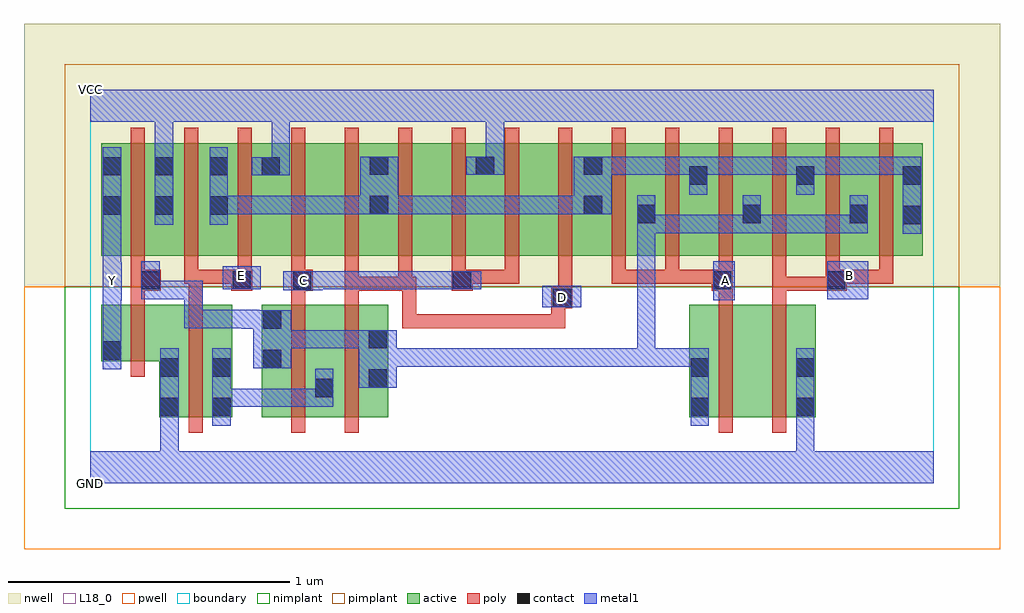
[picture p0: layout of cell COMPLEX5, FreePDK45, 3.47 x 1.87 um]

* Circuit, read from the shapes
.subckt COMPLEX5 A B C D E GND VCC Y
M1 GND n1 Y VSUBS nfet w=0.2u l=0.05u
M2 n2 E GND VSUBS nfet w=0.4u l=0.05u
M3 n2 C n1 VSUBS nfet w=0.4u l=0.05u
M4 n1 D n2 VSUBS nfet w=0.4u l=0.05u
M5 n3 A n1 VSUBS nfet w=0.4u l=0.05u
M6 GND B n3 VSUBS nfet w=0.4u l=0.05u
M7 VCC n1 Y n4 pfet w=0.4u l=0.05u
M8 n5 E VCC n4 pfet w=0.4u l=0.05u m=2
M9 n6 C VCC n4 pfet w=0.4u l=0.05u
M10 n5 D n6 n4 pfet w=0.4u l=0.05u
M11 n7 D n5 n4 pfet w=0.4u l=0.05u
M12 VCC C n7 n4 pfet w=0.4u l=0.05u
M13 n8 C VCC n4 pfet w=0.4u l=0.05u
M14 n5 D n8 n4 pfet w=0.4u l=0.05u
M15 n1 A n5 n4 pfet w=0.4u l=0.05u m=3
M16 n5 B n1 n4 pfet w=0.4u l=0.05u m=3
.ends

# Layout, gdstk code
import gdstk
lib = gdstk.Library(unit=1e-6, precision=1e-09)
def R(c, l, rs):  # rectangles x0, y0, x1, y1
    for r in rs: c.add(gdstk.rectangle(r[:2], r[2:], *l))
def A(c, l, x, y, w, h, nx, ny, dx, dy):  # array of equal rectangles
    R(c, l, [(x+i*dx, y+j*dy, x+i*dx+w, y+j*dy+h) for i in range(nx) for j in range(ny)])
active = (1, 0)
pwell = (2, 0)
nwell = (3, 0)
nimplant = (4, 0)
pimplant = (5, 0)
poly = (9, 0)
contact = (10, 0)
metal1 = (11, 0)
L18_0 = (18, 0)
boundary = (235, 0)

complex5 = lib.new_cell('COMPLEX5')
A(complex5, active, 2.125, 0.81, 0.265, 0.4, 4, 1, 0.19, 0)
R(complex5, active, [(0.245,0.235,0.505,0.635), (0.245,0.235,0.32,0.45), (0.43,0.235,0.505,0.635), (0.61,0.235,0.87,0.635), (0.795,0.235,1.06,0.635), (2.13,0.235,2.205,0.635), (2.13,0.235,2.355,0.635), (2.355,0.235,2.58,0.635), (2.505,0.235,2.58,0.635), (0.61,0.245,0.685,0.635), (0.795,0.245,0.87,0.492), (0.985,0.245,1.06,0.635), (0.04,0.435,0.32,0.635), (0.04,0.435,0.115,0.635), (0.04,0.81,0.3,1.21), (0.04,0.81,0.115,1.165), (0.225,0.81,0.3,1.21), (0.225,0.81,0.495,1.21), (0.42,0.81,0.68,1.21), (0.42,0.81,0.495,1.165), (0.605,0.81,0.835,1.21), (0.835,0.81,1.065,1.21), (0.99,0.81,1.215,1.21), (0.99,0.81,1.065,1.2), (1.215,0.81,1.442,1.21), (1.367,0.81,1.442,1.21), (1.367,0.81,1.595,1.21), (1.595,0.81,1.825,1.21), (1.75,0.81,1.825,1.2), (1.75,0.81,2.015,1.21), (1.94,0.81,2.2,1.21), (1.94,0.81,2.015,1.07), (2.315,0.81,2.39,1.07), (2.505,0.81,2.58,1.2), (2.695,0.81,2.77,1.07), (2.885,0.81,2.96,1.155), (0.605,0.907,0.68,1.21), (2.125,0.907,2.2,1.2)])
R(complex5, pwell, [(-0.235,-0.235,3.235,0.7)])
R(complex5, nwell, [(-0.235,0.7,3.235,1.635)])
R(complex5, nimplant, [(-0.09,-0.09,3.09,0.7)])
R(complex5, pimplant, [(-0.09,0.7,3.09,1.49)])
A(complex5, poly, 0.145, 0.71, 0.05, 0.095, 4, 1, 0.19, 0)
A(complex5, poly, 1.855, 0.71, 0.05, 0.095, 3, 1, 0.19, 0)
A(complex5, poly, 0.145, 0.755, 0.05, 0.51, 15, 1, 0.19, 0)
R(complex5, poly, [(0.35,0.18,0.4,0.69), (0.715,0.18,0.765,0.69), (0.905,0.18,0.955,0.69), (2.235,0.18,2.285,0.69), (2.425,0.18,2.475,0.69), (0.145,0.38,0.195,0.69), (1.11,0.552,1.16,0.602), (1.11,0.552,1.16,0.602), (1.11,0.552,1.16,0.602), (1.11,0.552,1.292,0.602), (1.11,0.552,1.16,0.735), (1.242,0.552,1.292,0.602), (1.242,0.552,1.292,0.602), (1.242,0.552,1.292,0.602), (1.242,0.552,1.492,0.602), (1.442,0.552,1.492,0.602), (1.442,0.552,1.69,0.602), (1.64,0.552,1.69,0.602), (1.64,0.552,1.69,0.602), (1.64,0.552,1.69,0.602), (1.64,0.552,1.69,0.602), (1.64,0.552,1.69,0.602), (1.64,0.552,1.69,0.672), (1.64,0.622,1.715,0.697), (0.145,0.64,0.195,0.735), (0.35,0.64,0.4,0.76), (0.715,0.64,0.765,0.735), (0.905,0.64,0.955,0.735), (2.235,0.64,2.285,0.735), (2.425,0.64,2.475,0.735), (1.665,0.647,1.715,0.805), (0.145,0.685,0.252,0.76), (0.502,0.685,0.577,0.76), (0.715,0.685,0.792,0.76), (0.905,0.685,0.955,0.735), (0.905,0.685,0.955,0.735), (0.905,0.685,0.955,0.735), (0.905,0.685,1.145,0.735), (0.905,0.685,0.955,0.805), (1.095,0.685,1.145,0.735), (1.095,0.685,1.145,0.735), (1.095,0.685,1.145,0.805), (1.095,0.685,1.16,0.735), (1.285,0.685,1.36,0.76), (2.21,0.685,2.285,0.76), (2.425,0.685,2.475,0.735), (2.425,0.685,2.665,0.735), (2.425,0.685,2.475,0.805), (2.615,0.685,2.665,0.735), (2.615,0.685,2.665,0.735), (2.615,0.685,2.69,0.76), (0.335,0.71,0.4,0.76), (0.35,0.71,0.552,0.76), (0.502,0.71,0.552,0.76), (0.502,0.71,0.552,0.76), (1.285,0.71,1.335,0.805), (1.31,0.71,1.36,0.76), (1.31,0.71,1.36,0.76), (1.31,0.71,1.525,0.76), (1.475,0.71,1.525,0.805), (1.475,0.71,1.525,0.76), (1.855,0.71,1.905,0.76), (1.855,0.71,1.905,0.76), (1.855,0.71,1.905,0.76), (1.855,0.71,2.095,0.76), (2.045,0.71,2.095,0.76), (2.045,0.71,2.095,0.76), (2.045,0.71,2.095,0.76), (2.045,0.71,2.26,0.76), (2.615,0.71,2.665,0.805), (2.64,0.71,2.855,0.76), (2.805,0.71,2.855,0.805), (2.805,0.71,2.855,0.76), (2.805,0.71,2.855,0.76), (2.805,0.71,2.855,0.76)])
A(complex5, contact, 2.13, 1.062, 0.065, 0.065, 3, 1, 0.38, 0)
R(complex5, contact, [(0.25,0.24,0.315,0.305), (0.435,0.24,0.5,0.305), (2.135,0.24,2.2,0.305), (2.51,0.24,2.575,0.305), (0.8,0.307,0.865,0.372), (0.99,0.34,1.055,0.405), (0.25,0.38,0.315,0.445), (0.435,0.38,0.5,0.445), (2.135,0.38,2.2,0.445), (2.51,0.38,2.575,0.445), (0.615,0.41,0.68,0.475), (0.045,0.44,0.11,0.505), (0.99,0.48,1.055,0.545), (0.615,0.55,0.68,0.615), (1.645,0.627,1.71,0.692), (0.182,0.69,0.247,0.755), (0.507,0.69,0.572,0.755), (0.722,0.69,0.787,0.755), (1.29,0.69,1.355,0.755), (2.215,0.69,2.28,0.755), (2.62,0.69,2.685,0.755), (2.89,0.922,2.955,0.987), (1.945,0.925,2.01,0.99), (2.32,0.925,2.385,0.99), (2.7,0.925,2.765,0.99), (0.045,0.955,0.11,1.02), (0.23,0.955,0.295,1.02), (0.425,0.955,0.49,1.02), (0.995,0.957,1.06,1.022), (1.755,0.957,1.82,1.022), (0.045,1.095,0.11,1.16), (0.23,1.095,0.295,1.16), (0.425,1.095,0.49,1.16), (0.61,1.095,0.675,1.16), (0.995,1.097,1.06,1.162), (1.372,1.097,1.437,1.162), (1.755,1.097,1.82,1.162)])
A(complex5, metal1, 2.267, 1.097, 0.065, 0.065, 3, 1, 0.19, 0)
R(complex5, metal1, [(0,0,3,0.115), (0.25,0.05,0.315,0.27), (2.51,0.05,2.575,0.115), (2.51,0.05,2.575,0.115), (2.51,0.05,2.575,0.27), (0.25,0.205,0.315,0.27), (0.25,0.205,0.315,0.27), (0.25,0.205,0.315,0.48), (0.435,0.205,0.5,0.48), (2.135,0.205,2.2,0.48), (2.51,0.205,2.575,0.48), (0.435,0.272,0.607,0.337), (0.542,0.272,0.607,0.337), (0.542,0.272,0.637,0.337), (0.572,0.272,0.637,0.337), (0.572,0.272,0.745,0.337), (0.68,0.272,0.745,0.337), (0.68,0.272,0.865,0.337), (0.8,0.272,0.865,0.407), (0.955,0.34,1.09,0.545), (0.045,0.405,0.11,0.54), (0.58,0.41,0.715,0.615), (1.025,0.415,1.127,0.48), (1.062,0.415,1.127,0.48), (1.062,0.415,1.265,0.48), (1.2,0.415,1.265,0.48), (1.2,0.415,1.265,0.48), (1.2,0.415,1.265,0.48), (1.2,0.415,1.402,0.48), (1.337,0.415,1.402,0.48), (1.337,0.415,1.402,0.48), (1.337,0.415,1.402,0.48), (1.337,0.415,1.54,0.48), (1.475,0.415,1.54,0.48), (1.475,0.415,1.54,0.48), (1.475,0.415,1.54,0.48), (1.475,0.415,1.785,0.48), (1.72,0.415,1.785,0.48), (1.72,0.415,1.785,0.48), (1.72,0.415,1.785,0.48), (1.72,0.415,2.01,0.48), (1.945,0.415,2.01,0.48), (1.945,0.415,2.01,0.48), (1.945,0.415,2.01,0.48), (1.945,0.415,2.01,0.48), (1.945,0.415,2.01,0.48), (1.945,0.415,2.2,0.48), (1.945,0.415,2.01,0.955), (0.045,0.475,0.11,0.717), (0.65,0.48,0.852,0.545), (0.787,0.48,0.852,0.545), (0.787,0.48,0.852,0.545), (0.787,0.48,0.852,0.545), (0.787,0.48,0.99,0.545), (0.925,0.48,0.99,0.545), (0.925,0.48,1.02,0.545), (0.537,0.55,0.645,0.615), (0.537,0.55,0.602,0.617), (0.335,0.552,0.4,0.617), (0.335,0.552,0.602,0.617), (0.335,0.552,0.4,0.72), (1.607,0.627,1.747,0.702), (0.045,0.652,0.112,0.787), (2.215,0.652,2.292,0.79), (0.182,0.655,0.247,0.79), (0.182,0.655,0.25,0.72), (0.185,0.655,0.25,0.72), (0.185,0.655,0.4,0.72), (0.335,0.655,0.4,0.72), (0.335,0.655,0.4,0.72), (0.335,0.655,0.4,0.72), (2.62,0.655,2.767,0.79), (0.687,0.687,0.827,0.755), (0.472,0.69,0.607,0.772), (0.762,0.69,0.852,0.755), (0.787,0.69,0.852,0.755), (0.787,0.69,0.99,0.755), (0.925,0.69,0.99,0.755), (0.925,0.69,0.99,0.755), (0.925,0.69,0.99,0.755), (0.925,0.69,1.127,0.755), (1.062,0.69,1.127,0.755), (1.062,0.69,1.232,0.755), (1.167,0.69,1.232,0.755), (1.167,0.69,1.32,0.755), (1.255,0.69,1.39,0.755), (0.045,0.722,0.11,0.985), (2.89,0.887,2.955,1.162), (1.945,0.89,2.01,0.955), (1.945,0.89,2.01,0.955), (1.945,0.89,2.01,1.025), (1.945,0.89,2.147,0.955), (2.082,0.89,2.147,0.955), (2.082,0.89,2.385,0.955), (2.32,0.89,2.385,0.955), (2.32,0.89,2.385,0.955), (2.32,0.89,2.385,1.025), (2.32,0.89,2.522,0.955), (2.457,0.89,2.522,0.955), (2.457,0.89,2.522,0.955), (2.457,0.89,2.522,0.955), (2.457,0.89,2.765,0.955), (2.7,0.89,2.765,0.955), (2.7,0.89,2.765,0.955), (2.7,0.89,2.765,1.025), (0.045,0.92,0.11,1.195), (0.23,0.92,0.295,1.195), (0.425,0.92,0.49,1.195), (0.425,0.957,0.537,1.022), (0.472,0.957,0.537,1.022), (0.472,0.957,0.715,1.022), (0.65,0.957,0.715,1.022), (0.65,0.957,0.852,1.022), (0.787,0.957,0.852,1.022), (0.787,0.957,0.852,1.022), (0.787,0.957,0.852,1.022), (0.787,0.957,0.99,1.022), (0.925,0.957,0.99,1.022), (0.925,0.957,1.025,1.022), (0.96,0.957,1.095,1.162), (1.03,0.957,1.127,1.022), (1.062,0.957,1.127,1.022), (1.062,0.957,1.265,1.022), (1.2,0.957,1.265,1.022), (1.2,0.957,1.265,1.022), (1.2,0.957,1.265,1.022), (1.2,0.957,1.402,1.022), (1.337,0.957,1.402,1.022), (1.337,0.957,1.402,1.022), (1.337,0.957,1.402,1.022), (1.337,0.957,1.647,1.022), (1.582,0.957,1.647,1.022), (1.582,0.957,1.647,1.022), (1.582,0.957,1.647,1.022), (1.582,0.957,1.785,1.022), (1.72,0.957,1.855,1.162), (2.13,1.027,2.195,1.162), (2.51,1.027,2.575,1.162), (0.575,1.095,0.71,1.16), (0.645,1.095,0.71,1.35), (1.337,1.097,1.472,1.162), (1.407,1.097,1.472,1.35), (1.79,1.097,1.855,1.162), (1.79,1.097,1.855,1.162), (1.79,1.097,1.855,1.162), (1.79,1.097,1.855,1.162), (1.79,1.097,1.992,1.162), (1.927,1.097,1.992,1.162), (1.927,1.097,1.992,1.162), (1.927,1.097,1.992,1.162), (1.927,1.097,2.195,1.162), (2.13,1.097,2.332,1.162), (2.267,1.097,2.332,1.162), (2.267,1.097,2.332,1.162), (2.267,1.097,2.522,1.162), (2.457,1.097,2.575,1.162), (2.51,1.097,2.712,1.162), (2.647,1.097,2.712,1.162), (2.647,1.097,2.712,1.162), (2.647,1.097,2.955,1.162), (2.89,1.097,2.955,1.162), (2.89,1.097,2.955,1.162), (0.23,1.13,0.295,1.35), (0,1.285,3,1.4)])
R(complex5, L18_0, [(0,0,3,0.115), (0.25,0.05,0.315,0.27), (2.51,0.05,2.575,0.115), (2.51,0.05,2.575,0.115), (2.51,0.05,2.575,0.27), (0.25,0.205,0.315,0.48), (0.25,0.205,0.315,0.27), (0.25,0.205,0.315,0.27), (2.51,0.205,2.575,0.48), (0.045,0.405,0.11,0.54), (0.045,0.475,0.11,0.717), (1.607,0.627,1.747,0.702), (1.647,0.627,1.712,0.692), (0.045,0.652,0.112,0.787), (2.215,0.652,2.292,0.79), (2.62,0.655,2.767,0.79), (0.047,0.687,0.112,0.752), (0.687,0.687,0.827,0.755), (0.727,0.687,0.792,0.752), (2.227,0.687,2.292,0.752), (0.472,0.69,0.607,0.772), (0.762,0.69,0.852,0.755), (0.787,0.69,0.852,0.755), (0.787,0.69,0.99,0.755), (0.925,0.69,0.99,0.755), (0.925,0.69,0.99,0.755), (0.925,0.69,0.99,0.755), (0.925,0.69,1.127,0.755), (1.062,0.69,1.127,0.755), (1.062,0.69,1.232,0.755), (1.167,0.69,1.232,0.755), (1.167,0.69,1.32,0.755), (1.255,0.69,1.39,0.755), (0.507,0.707,0.572,0.772), (2.667,0.707,2.732,0.772), (0.045,0.722,0.11,0.985), (0.045,0.92,0.11,1.195), (0.23,0.92,0.295,1.195), (0.575,1.095,0.71,1.16), (0.645,1.095,0.71,1.35), (1.337,1.097,1.472,1.162), (1.407,1.097,1.472,1.35), (0.23,1.13,0.295,1.35), (0,1.285,3,1.4)])
R(complex5, boundary, [(0,0,3,1.4)])
complex5.add(gdstk.Label('A', (2.26,0.72), layer=11, texttype=0))
complex5.add(gdstk.Label('B', (2.7,0.74), layer=11, texttype=0))
complex5.add(gdstk.Label('C', (0.76,0.72), layer=11, texttype=0))
complex5.add(gdstk.Label('D', (1.68,0.66), layer=11, texttype=0))
complex5.add(gdstk.Label('E', (0.54,0.74), layer=11, texttype=0))
complex5.add(gdstk.Label('Y', (0.08,0.72), layer=11, texttype=0))
complex5.add(gdstk.Label('VCC', (0,1.4), layer=11, texttype=0))
complex5.add(gdstk.Label('GND', (0,0), layer=11, texttype=0))

lib.write_gds('COMPLEX5.gds')
